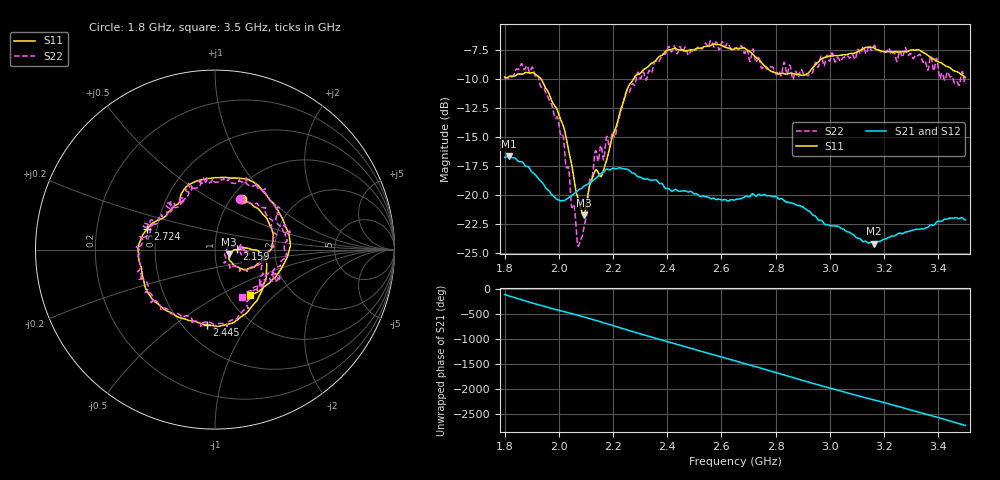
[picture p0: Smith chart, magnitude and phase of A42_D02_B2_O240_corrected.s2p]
! Created with skrf 1.9.0 (http://scikit-rf.org).
# Hz S RI R 50.0
!freq ReS11 ImS11 ReS21 ImS21 ReS12 ImS12 ReS22 ImS22
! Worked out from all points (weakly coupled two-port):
!   1601 points, 1.8 GHz to 3.5 GHz, reference 50 ohm
!   highest |S21| = -16.71 dB at 1.816 GHz (marker M1); lowest = -24.2 dB at 3.163 GHz (marker M2)
!   lowest |S11| = -21.8 dB at 2.091 GHz (marker M3), VSWR 1.18, Z = 58.3 - j3.01 ohm
!   |S11| at or under -10 dB: 1.933 GHz to 2.276 GHz (342.3 MHz wide, 16.3 % of centre)
!   |S22| runs from -24.5 to -6.7 dB; largest |S21 - S12| = 0.0025
!   S11 on the Smith chart (normalised r, x): 1.8 GHz: 1.12, +0.71; 2.159 GHz: 1.28, +0.00; 2.445 GHz: 0.65, -0.66; 2.724 GHz: 0.44, +0.12; 3.5 GHz: 1.25, -0.71
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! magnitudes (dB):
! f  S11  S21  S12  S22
! 1.8 GHz  -9.9  -16.8  -16.8  -10.1
! 1.816 GHz  -9.8  -16.7  -16.7  -10.0
! 1.902 GHz  -9.5  -18.1  -18.0  -9.0
! 1.967 GHz  -11.5  -19.8  -19.9  -11.9
! 2.019 GHz  -14.2  -20.5  -20.5  -15.5
! 2.07 GHz  -20.2  -19.7  -19.7  -24.4
! 2.084 GHz  -21.4  -19.5  -19.4  -23.7
! 2.091 GHz  -21.8  -19.3  -19.4  -23.1
! 2.131 GHz  -18.1  -18.7  -18.7  -16.7
! 2.159 GHz  -18.3  -18.1  -18.1  -16.1
! 2.209 GHz  -14.3  -17.8  -17.7  -14.9
! 2.257 GHz  -10.6  -17.9  -17.8  -11.2
! 2.367 GHz  -8.2  -19.0  -18.9  -8.6
! 2.445 GHz  -7.5  -19.7  -19.7  -7.3
! 2.65 GHz  -7.4  -20.5  -20.4  -7.3
! 2.724 GHz  -8.1  -20.1  -20.1  -8.4
! 2.808 GHz  -9.6  -20.3  -20.3  -9.4
! 2.934 GHz  -9.1  -21.7  -21.7  -9.5
! 3.163 GHz  -7.4  -24.2  -24.2  -7.1
! 3.217 GHz  -7.7  -23.7  -23.7  -7.4
! 3.331 GHz  -7.5  -23.0  -23.0  -7.9
! 3.5 GHz  -9.9  -22.2  -22.1  -10.4
